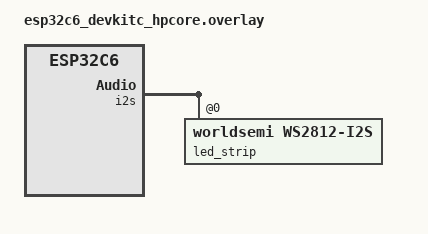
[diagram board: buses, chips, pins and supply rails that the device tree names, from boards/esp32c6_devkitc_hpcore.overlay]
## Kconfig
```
mainmenu "Lab 0 - Minimal IoT Implementation (MQTT)"

config LAB_WIFI_SSID
	string "Wi-Fi SSID"
	default "changeme"

config LAB_WIFI_PSK
	string "Wi-Fi password"
	default "changeme"

config LAB_BROKER_ADDR
	string "MQTT broker IPv4 address"
	default "192.168.1.50"
	help
	  IPv4 address of the workstation running Mosquitto.

config LAB_BROKER_PORT
	int "MQTT broker port"
	default 1883

source "Kconfig.zephyr"
```

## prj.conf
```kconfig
CONFIG_LOG=y
CONFIG_MAIN_STACK_SIZE=4096
CONFIG_LOG_PROCESS_THREAD_STACK_SIZE=2048
CONFIG_LOG_BUFFER_SIZE=4096

CONFIG_NETWORKING=y
CONFIG_NET_IPV4=y
CONFIG_NET_IPV6=n
CONFIG_NET_TCP=y
CONFIG_NET_SOCKETS=y
CONFIG_NET_DHCPV4=y
CONFIG_NET_MGMT=y
CONFIG_NET_MGMT_EVENT=y
CONFIG_NET_MGMT_EVENT_INFO=y
CONFIG_NET_CONFIG_SETTINGS=n

CONFIG_WIFI=y
CONFIG_MQTT_LIB=y
CONFIG_JSON_LIBRARY=y
CONFIG_LED_STRIP=y
```

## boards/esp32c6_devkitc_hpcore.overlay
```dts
#include <zephyr/dt-bindings/led/led.h>

/ {
	aliases {
		led-strip = &led_strip;
	};
};

&i2s_default {
	group1 {
		pinmux = <I2S_O_SD_GPIO8>;
	};
};

i2s_led: &i2s {
	status = "okay";
	dmas = <&dma 3>;
	dma-names = "tx";

	led_strip: ws2812@0 {
		compatible = "worldsemi,ws2812-i2s";
		reg = <0>;
		chain-length = <1>;
		color-mapping = <LED_COLOR_ID_GREEN
				 LED_COLOR_ID_RED
				 LED_COLOR_ID_BLUE>;
		reset-delay = <500>;
	};
};

&dma {
	status = "okay";
};
```

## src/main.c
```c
/*
 * Lab 0 - Minimal IoT Implementation (MQTT)
 *
 * PUBLISH   iot/sensor  -> {"temperature": 24.5}
 * SUBSCRIBE iot/control <- {"state": 0|1}
 */

#include <errno.h>
#include <string.h>

#include <zephyr/kernel.h>
#include <zephyr/device.h>
#include <zephyr/data/json.h>
#include <zephyr/drivers/led_strip.h>
#include <zephyr/net/mqtt.h>
#include <zephyr/net/net_event.h>
#include <zephyr/net/net_if.h>
#include <zephyr/net/net_mgmt.h>
#include <zephyr/net/socket.h>
#include <zephyr/net/wifi_mgmt.h>
#include <zephyr/random/random.h>
#include <zephyr/logging/log.h>

#if !defined(CONFIG_WIFI) || !defined(CONFIG_MQTT_LIB) || \
	!defined(CONFIG_JSON_LIBRARY) || !defined(CONFIG_LED_STRIP)
#error "TASK 1 is not done: enable Wi-Fi, MQTT, JSON and LED strip in prj.conf."
#endif

#if !defined(CONFIG_LAB_BROKER_ADDR) || !defined(CONFIG_LAB_BROKER_PORT)
#error "TASK 2 is not done: declare broker address and port in Kconfig."
#endif

LOG_MODULE_REGISTER(lab0_mqtt, LOG_LEVEL_INF);

#define TOPIC_SENSOR "iot/sensor"
#define TOPIC_CONTROL "iot/control"

static const struct device *const strip = DEVICE_DT_GET(DT_ALIAS(led_strip));
static K_SEM_DEFINE(ipv4_ready, 0, 1);
static struct net_mgmt_event_callback wifi_cb;
static struct net_mgmt_event_callback ipv4_cb;
static struct mqtt_client client;
static struct sockaddr_storage broker;
static uint8_t rx_buffer[256];
static uint8_t tx_buffer[256];
static struct zsock_pollfd fds[1];
static bool connected;

struct control_cmd {
	int state;
};

static const struct json_obj_descr control_cmd_descr[] = {
	JSON_OBJ_DESCR_PRIM(struct control_cmd, state, JSON_TOK_NUMBER),
};

static void led_set(int on)
{
	struct led_rgb pixel = { .r = 0, .g = 0, .b = 0 };

	if (on) {
		pixel.g = 0x40;
	}

	if (led_strip_update_rgb(strip, &pixel, 1) != 0) {
		LOG_ERR("Failed to drive LED");
	}
}

static void handle_control_payload(struct mqtt_client *c,
				   const struct mqtt_publish_param *pub)
{
	uint8_t payload[64];
	uint32_t len = pub->message.payload.len;
	struct control_cmd cmd = { 0 };
	int ret;

	if (len >= sizeof(payload)) {
		LOG_WRN("Control payload too large (%u bytes), dropping", len);
		return;
	}

	ret = mqtt_read_publish_payload_blocking(c, payload, len);
	if (ret < 0) {
		LOG_ERR("Failed to read publish payload (%d)", ret);
		return;
	}
	payload[len] = '\0';

	ret = json_obj_parse(payload, len, control_cmd_descr,
			     ARRAY_SIZE(control_cmd_descr), &cmd);
	if (ret == BIT_MASK(ARRAY_SIZE(control_cmd_descr))) {
		LOG_INF("Actuating command received, LED state: %d", cmd.state);
		led_set(cmd.state);
	} else {
		LOG_WRN("Could not parse control payload (ret %d)", ret);
	}

	if (pub->message.topic.qos == MQTT_QOS_1_AT_LEAST_ONCE) {
		struct mqtt_puback_param ack = { .message_id = pub->message_id };

		mqtt_publish_qos1_ack(c, &ack);
		LOG_INF("PUBACK sent for message %u", pub->message_id);
	}
}

static int publish_sensor(struct mqtt_client *c)
{
	uint8_t payload[64];
	struct mqtt_publish_param param = { 0 };
	uint32_t tenths = 200 + (sys_rand32_get() % 100);
	int len = snprintf((char *)payload, sizeof(payload),
			   "{\"temperature\": %u.%u}", tenths / 10, tenths % 10);

	param.message.topic.topic.utf8 = (uint8_t *)TOPIC_SENSOR;
	param.message.topic.topic.size = strlen(TOPIC_SENSOR);
	param.message.topic.qos = MQTT_QOS_0_AT_MOST_ONCE;
	param.message.payload.data = payload;
	param.message.payload.len = len;
	param.message_id = sys_rand16_get();

	LOG_INF("Publishing to %s: %s", TOPIC_SENSOR, payload);
	return mqtt_publish(c, &param);
}

static int subscribe_control(struct mqtt_client *c)
{
	struct mqtt_topic topic = {
		.topic = {
			.utf8 = (uint8_t *)TOPIC_CONTROL,
			.size = strlen(TOPIC_CONTROL),
		},
		.qos = MQTT_QOS_1_AT_LEAST_ONCE,
	};
	struct mqtt_subscription_list list = {
		.list = &topic,
		.list_count = 1,
		.message_id = sys_rand16_get(),
	};

	LOG_INF("Subscribing to %s", TOPIC_CONTROL);
	return mqtt_subscribe(c, &list);
}

static void mqtt_evt_handler(struct mqtt_client *const c,
			      const struct mqtt_evt *evt)
{
	switch (evt->type) {
	case MQTT_EVT_CONNACK:
		if (evt->result != 0) {
			LOG_ERR("MQTT connect failed (%d)", evt->result);
			break;
		}
		connected = true;
		LOG_INF("Connected to broker");
		subscribe_control(c);
		break;
	case MQTT_EVT_DISCONNECT:
		LOG_INF("Disconnected from broker (%d)", evt->result);
		connected = false;
		break;
	case MQTT_EVT_PUBLISH:
		handle_control_payload(c, &evt->param.publish);
		break;
	case MQTT_EVT_SUBACK:
		LOG_INF("Subscribed to %s", TOPIC_CONTROL);
		break;
	default:
		break;
	}
}

static void broker_init(void)
{
	struct sockaddr_in *addr = (struct sockaddr_in *)&broker;

	addr->sin_family = AF_INET;
	addr->sin_port = htons(CONFIG_LAB_BROKER_PORT);
	zsock_inet_pton(AF_INET, CONFIG_LAB_BROKER_ADDR, &addr->sin_addr);
}

static void client_init(struct mqtt_client *c)
{
	static const char client_id[] = "esp32c6-node";

	mqtt_client_init(c);
	broker_init();
	c->broker = &broker;
	c->evt_cb = mqtt_evt_handler;
	c->client_id.utf8 = (uint8_t *)client_id;
	c->client_id.size = strlen(client_id);
	c->protocol_version = MQTT_VERSION_3_1_1;
	c->transport.type = MQTT_TRANSPORT_NON_SECURE;
	c->rx_buf = rx_buffer;
	c->rx_buf_size = sizeof(rx_buffer);
	c->tx_buf = tx_buffer;
	c->tx_buf_size = sizeof(tx_buffer);
}

static void wifi_event_handler(struct net_mgmt_event_callback *cb, uint64_t event,
			       struct net_if *iface)
{
	const struct wifi_status *st = (const struct wifi_status *)cb->info;

	ARG_UNUSED(cb);
	ARG_UNUSED(iface);
	if (event == NET_EVENT_WIFI_CONNECT_RESULT) {
		if (st->status) {
			LOG_ERR("Wi-Fi association failed (%d)", st->status);
		} else {
			LOG_INF("Associated with \"%s\"", CONFIG_LAB_WIFI_SSID);
		}
	} else if (event == NET_EVENT_WIFI_DISCONNECT_RESULT) {
		LOG_WRN("Wi-Fi disconnected");
	}
}

static void ipv4_event_handler(struct net_mgmt_event_callback *cb, uint64_t event,
			       struct net_if *iface)
{
	ARG_UNUSED(cb);
	if (event != NET_EVENT_IPV4_ADDR_ADD) {
		return;
	}
	for (int i = 0; i < NET_IF_MAX_IPV4_ADDR; i++) {
		char buf[NET_IPV4_ADDR_LEN];

		if (iface->config.ip.ipv4->unicast[i].ipv4.addr_type != NET_ADDR_DHCP) {
			continue;
		}
		LOG_INF("IPv4 address: %s",
			net_addr_ntop(AF_INET,
				      &iface->config.ip.ipv4->unicast[i].ipv4.address.in_addr,
				      buf, sizeof(buf)));
		k_sem_give(&ipv4_ready);
	}
}

static int wifi_connect(void)
{
	struct net_if *iface = net_if_get_first_wifi();
	struct wifi_connect_req_params params = { 0 };

	if (iface == NULL) {
		LOG_ERR("No Wi-Fi interface found");
		return -ENODEV;
	}
	params.ssid = (const uint8_t *)CONFIG_LAB_WIFI_SSID;
	params.ssid_length = strlen(CONFIG_LAB_WIFI_SSID);
	params.psk = (const uint8_t *)CONFIG_LAB_WIFI_PSK;
	params.psk_length = strlen(CONFIG_LAB_WIFI_PSK);
	params.security = WIFI_SECURITY_TYPE_PSK;
	params.channel = WIFI_CHANNEL_ANY;
	params.band = WIFI_FREQ_BAND_2_4_GHZ;
	params.mfp = WIFI_MFP_OPTIONAL;
	LOG_INF("Connecting to \"%s\"...", CONFIG_LAB_WIFI_SSID);
	return net_mgmt(NET_REQUEST_WIFI_CONNECT, iface, &params, sizeof(params));
}

int main(void)
{
	if (!device_is_ready(strip)) {
		LOG_ERR("LED strip device not ready");
		return -ENODEV;
	}
	led_set(0);
	net_mgmt_init_event_callback(&wifi_cb, wifi_event_handler,
				     NET_EVENT_WIFI_CONNECT_RESULT |
					     NET_EVENT_WIFI_DISCONNECT_RESULT);
	net_mgmt_add_event_callback(&wifi_cb);
	net_mgmt_init_event_callback(&ipv4_cb, ipv4_event_handler,
				     NET_EVENT_IPV4_ADDR_ADD);
	net_mgmt_add_event_callback(&ipv4_cb);
	if (wifi_connect() != 0) {
		LOG_ERR("Wi-Fi connect request failed");
		return -EIO;
	}
	k_sem_take(&ipv4_ready, K_FOREVER);

	while (1) {
		int rc;
		int64_t next_publish = k_uptime_get() + 2000;

		client_init(&client);
		LOG_INF("Connecting to broker %s:%d", CONFIG_LAB_BROKER_ADDR,
			CONFIG_LAB_BROKER_PORT);
		rc = mqtt_connect(&client);
		if (rc != 0) {
			LOG_ERR("mqtt_connect failed (%d), retrying in 5s", rc);
			k_sleep(K_SECONDS(5));
			continue;
		}
		fds[0].fd = client.transport.tcp.sock;
		fds[0].events = ZSOCK_POLLIN;

		while (1) {
			int timeout = mqtt_keepalive_time_left(&client);
			int wait = MIN(timeout, 1000);

			rc = zsock_poll(fds, 1, wait);
			if (rc < 0) {
				LOG_ERR("poll failed (%d)", errno);
				break;
			}
			if (rc > 0 && (fds[0].revents & ZSOCK_POLLIN)) {
				rc = mqtt_input(&client);
				if (rc != 0) {
					LOG_ERR("mqtt_input failed (%d)", rc);
					break;
				}
			}
			if (fds[0].revents & (ZSOCK_POLLERR | ZSOCK_POLLHUP)) {
				LOG_ERR("Broker connection lost");
				break;
			}
			rc = mqtt_live(&client);
			if (rc != 0 && rc != -EAGAIN) {
				LOG_ERR("mqtt_live failed (%d)", rc);
				break;
			}
			if (connected && k_uptime_get() >= next_publish) {
				publish_sensor(&client);
				next_publish = k_uptime_get() + 2000;
			}
		}
		connected = false;
		mqtt_disconnect(&client, NULL);
		k_sleep(K_SECONDS(5));
	}
}
```
